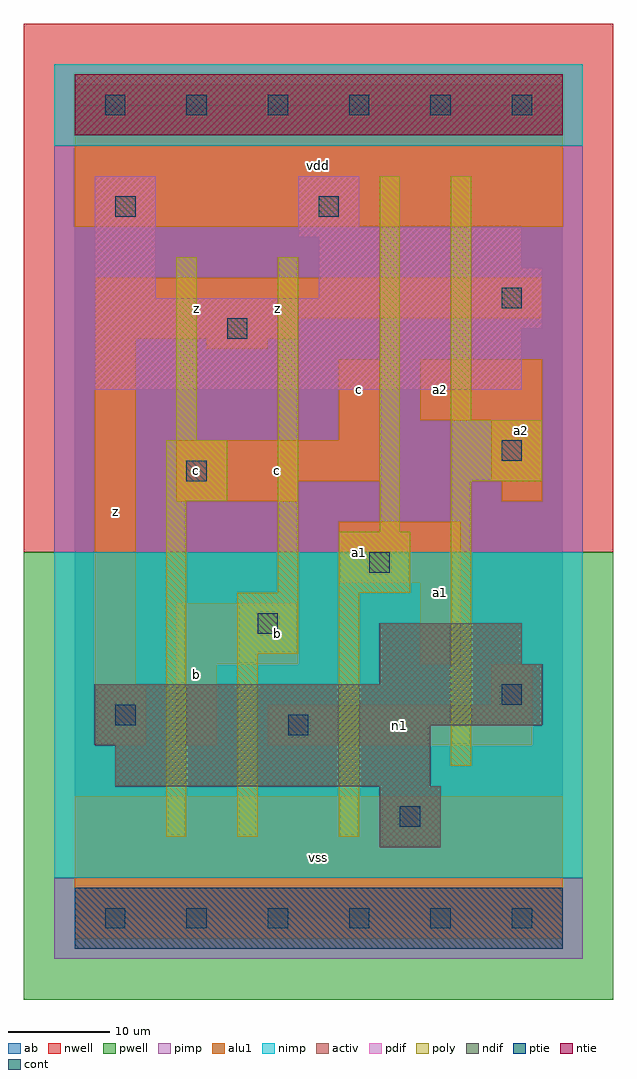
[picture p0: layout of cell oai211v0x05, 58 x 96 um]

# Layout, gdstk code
import gdstk
lib = gdstk.Library(unit=1e-6, precision=1e-09)
def R(c, l, rs):  # rectangles x0, y0, x1, y1
    for r in rs: c.add(gdstk.rectangle(r[:2], r[2:], *l))
def A(c, l, x, y, w, h, nx, ny, dx, dy):  # array of equal rectangles
    R(c, l, [(x+i*dx, y+j*dy, x+i*dx+w, y+j*dy+h) for i in range(nx) for j in range(ny)])
ndif = (3, 0)
pdif = (4, 0)
ntie = (5, 0)
ptie = (6, 0)
cont = (25, 0)
pwell = (41, 0)
nwell = (42, 0)
activ = (43, 0)
pimp = (44, 0)
nimp = (45, 0)
poly = (46, 0)
alu1 = (49, 0)
ab = (63, 0)

oai211v0x05 = lib.new_cell('oai211v0x05')
R(oai211v0x05, ndif, [(30,7,36,13), (4,13,35,17), (2,17,35,19), (2,19,46,23), (30,23,46,25), (30,25,44,29)])
R(oai211v0x05, pdif, [(2,52,44,58), (2,58,46,61), (2,61,8,73), (24,61,46,64), (24,64,44,67), (22,67,44,68), (22,68,28,73)])
R(oai211v0x05, ntie, [(0,77,48,83)])
R(oai211v0x05, ptie, [(0,-3,48,3)])
A(oai211v0x05, cont, 3, -1, 2, 2, 6, 2, 8, 80)
R(oai211v0x05, cont, [(32,9,34,11), (21,18,23,20), (4,19,6,21), (42,21,44,23), (18,28,20,30), (29,34,31,36), (11,43,13,45), (42,45,44,47), (15,57,17,59), (42,60,44,62), (4,69,6,71), (24,69,26,71)])
R(oai211v0x05, pwell, [(-5,-8,53,36)])
R(oai211v0x05, nwell, [(-5,36,53,88)])
R(oai211v0x05, activ, [(0,-3,48,3), (30,7,36,13), (4,13,35,17), (2,17,35,19), (2,19,46,23), (30,23,46,25), (30,25,44,29), (2,52,44,58), (2,58,46,61), (2,61,8,73), (24,61,46,64), (24,64,44,67), (22,67,44,68), (22,68,28,73), (0,77,48,83)])
R(oai211v0x05, pimp, [(-2,-4,50,4), (-2,36,50,76)])
R(oai211v0x05, nimp, [(-2,4,50,36), (-2,76,50,84)])
R(oai211v0x05, poly, [(9,8,11,41), (16,8,18,26), (26,8,28,32), (37,15,39,43), (16,26,22,32), (20,32,22,65), (26,32,33,38), (30,38,32,73), (9,41,15,47), (37,43,46,49), (10,47,12,65), (37,49,39,73)])
R(oai211v0x05, alu1, [(0,-2,48,12), (2,17,7,23), (10,17,14,25), (19,17,45,21), (41,21,45,25), (2,23,6,57), (10,25,22,31), (34,25,38,33), (26,33,38,39), (10,41,22,43), (42,41,46,43), (10,43,30,47), (41,43,46,49), (26,47,30,55), (34,49,46,55), (13,56,19,57), (2,57,22,59), (2,59,46,63), (0,68,48,82)])
R(oai211v0x05, ab, [(0,0,48,80)])
oai211v0x05.add(gdstk.Label('n1', (32,19), layer=49, texttype=0))
oai211v0x05.add(gdstk.Label('z', (4,40), layer=49, texttype=0))
oai211v0x05.add(gdstk.Label('b', (12,24), layer=49, texttype=0))
oai211v0x05.add(gdstk.Label('b', (20,28), layer=49, texttype=0))
oai211v0x05.add(gdstk.Label('c', (20,44), layer=49, texttype=0))
oai211v0x05.add(gdstk.Label('c', (12,44), layer=49, texttype=0))
oai211v0x05.add(gdstk.Label('z', (20,60), layer=49, texttype=0))
oai211v0x05.add(gdstk.Label('z', (12,60), layer=49, texttype=0))
oai211v0x05.add(gdstk.Label('vss', (24,6), layer=49, texttype=0))
oai211v0x05.add(gdstk.Label('a1', (28,36), layer=49, texttype=0))
oai211v0x05.add(gdstk.Label('c', (28,52), layer=49, texttype=0))
oai211v0x05.add(gdstk.Label('vdd', (24,74), layer=49, texttype=0))
oai211v0x05.add(gdstk.Label('a1', (36,32), layer=49, texttype=0))
oai211v0x05.add(gdstk.Label('a2', (36,52), layer=49, texttype=0))
oai211v0x05.add(gdstk.Label('a2', (44,48), layer=49, texttype=0))

lib.write_gds('oai211v0x05.gds')
